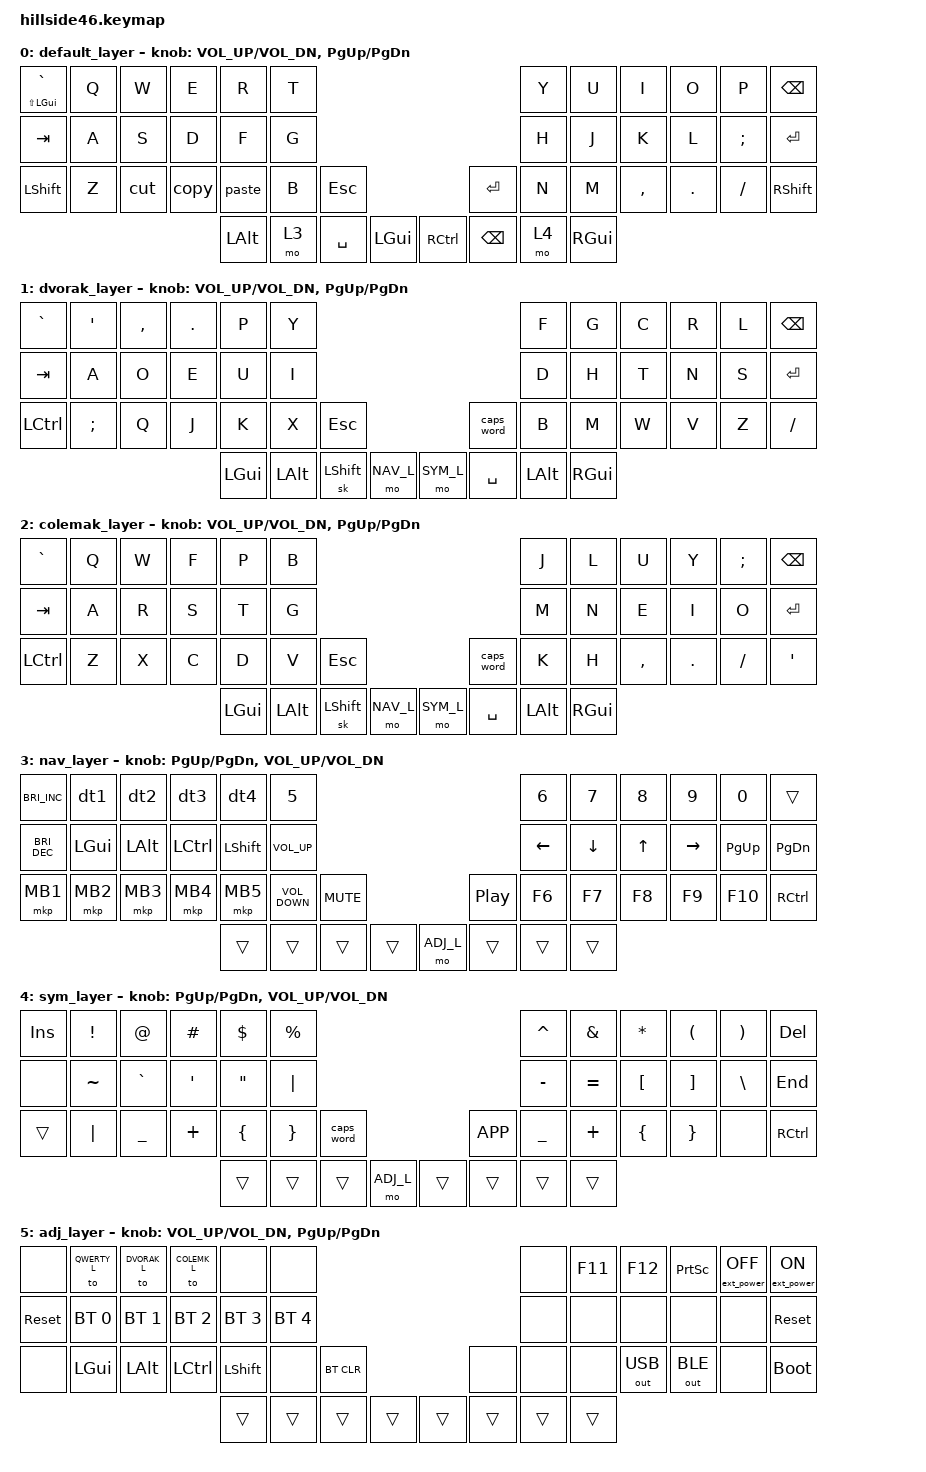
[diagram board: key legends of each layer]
/*
 * Copyright (c) 2021-2022 The ZMK Contributors
 *
 * SPDX-License-Identifier: MIT
 */

#include <dt-bindings/zmk/mouse.h>
#include <behaviors.dtsi>
#include <dt-bindings/zmk/bt.h>
#include <dt-bindings/zmk/ext_power.h>
#include <dt-bindings/zmk/keys.h>
#include <dt-bindings/zmk/outputs.h>

#define QWERTY_L 0
#define DVORAK_L 1
#define COLEMK_L 2
#define NAV_L    3
#define SYM_L    4
#define ADJ_L    5
#define Undo   LC(Z)
#define Cut    LC(X)
#define Copy   LC(C)
#define Paste  LC(V)
#define Redo   LC(Y)

/ {
    behaviors {
        ht: hold_tap {
            compatible = "zmk,behavior-hold-tap";
            #binding-cells = <2>;
            flavor = "tap-preferred";
            tapping-term-ms = <250>;
            quick-tap-ms = <150>;
            require-prior-idle-ms = <100>;
            bindings = <&kp>, <&kp>;
        };

        bhm: balanced_homerow_mods {
            compatible = "zmk,behavior-hold-tap";
            #binding-cells = <2>;
            tapping-term-ms = <250>;
            quick-tap-ms = <0>;
            flavor = "balanced";
            bindings = <&kp>, <&kp>;
        };

        cut: tap_dance_0 {
            compatible = "zmk,behavior-tap-dance";
            #binding-cells = <0>;
            tapping-term-ms = <250>;
            bindings = <&kp X>, <&kp LG(X)>;
        };

        copy: tap_dance_1 {
            compatible = "zmk,behavior-tap-dance";
            #binding-cells = <0>;
            tapping-term-ms = <250>;
            bindings = <&kp C>, <&kp LG(C)>;
        };

        paste: tap_dance_2 {
            compatible = "zmk,behavior-tap-dance";
            #binding-cells = <0>;
            tapping-term-ms = <250>;
            bindings = <&kp V>, <&kp LG(V)>;
        };

        dt1: tap_dance_3 {
            compatible = "zmk,behavior-tap-dance";
            #binding-cells = <0>;
            tapping-term-ms = <250>;
            bindings = <&kp N1>, <&kp LC(N1)>;
        };

        dt2: tap_dance_4 {
            compatible = "zmk,behavior-tap-dance";
            #binding-cells = <0>;
            tapping-term-ms = <250>;
            bindings = <&kp N2>, <&kp LC(N2)>;
        };

        dt3: tap_dance_5 {
            compatible = "zmk,behavior-tap-dance";
            #binding-cells = <0>;
            tapping-term-ms = <250>;
            bindings = <&kp N3>, <&kp LC(N3)>;
        };

        dt4: tap_dance_6 {
            compatible = "zmk,behavior-tap-dance";
            #binding-cells = <0>;
            tapping-term-ms = <250>;
            bindings = <&kp N4>, <&kp LC(N4)>;
        };
    };

    keymap {
        compatible = "zmk,keymap";

        default_layer {
            /* QWERTY
 * -------------------------------------------------------------------------------------------------------------------------------------
 * | `     |   Q   |   W   |   E   |   R   |   T   |-----------------------------------|   Y   |   U   |   I   |   O   |   P   | BKSPC |
 * | TAB   |   A   |   S   |   D   |   F   |   G   |-----------------------------------|   H   |   J   |   K   |   L   |   ;   | ENTER |
 * | CTRL  |   Z   |   X   |   C   |   V   |   B   |  ESC  |-------------------|  CAPS |   N   |   M   |   ,   |   .   |   /   |   '   |
 *                                 |  GUI  |  ALT  |SK SHFT|  Nav  |---|  Sym  | SPACE |  ALT  |  GUI  |
 */

            bindings = <
&mt LS(LGUI) GRAVE  &kp Q  &kp W  &kp E  &kp R         &kp T                                                   &kp Y  &kp U     &kp I      &kp O    &kp P      &kp BSPC
&kp TAB             &kp A  &kp S  &kp D  &kp F         &kp G                                                   &kp H  &kp J     &kp K      &kp L    &kp SEMI   &kp ENTER
&kp LSHIFT          &kp Z  &cut   &copy  &paste        &kp B  &kp ESC                           &kp ENTER      &kp N  &kp M     &kp COMMA  &kp DOT  &kp SLASH  &kp RSHIFT
                                         &kp LEFT_ALT  &mo 3  &kp SPACE  &kp LGUI    &kp RCTRL  &kp BACKSPACE  &mo 4  &kp RGUI
            >;

            sensor-bindings = <&inc_dec_kp C_VOL_UP C_VOL_DN &inc_dec_kp PG_UP PG_DN>;
        };

        dvorak_layer {
            /* DVORAK
 * -------------------------------------------------------------------------------------------------------------------------------------
 * | `     |   '   |   ,   |   .   |   P   |   Y   |-----------------------------------|   F   |   G   |   C   |   R   |   L   | BKSPC |
 * | TAB   |   A   |   O   |   E   |   U   |   I   |-----------------------------------|   D   |   H   |   T   |   N   |   S   | ENTER |
 * | CTRL  |   ;   |   Q   |   J   |   K   |   X   |  ESC  |-------------------| CAPS  |   B   |   M   |   W   |   V   |   Z   |   /   |
 *                                 |  GUI  |  ALT  |SK SHFT|  Nav  |---|  Sym  | SPACE |  ALT  |  GUI  |
 */

            bindings = <
&kp GRAVE  &kp SQT   &kp COMMA  &kp DOT  &kp P     &kp Y                                                     &kp F     &kp G     &kp C  &kp R  &kp L  &kp BSPC
&kp TAB    &kp A     &kp O      &kp E    &kp U     &kp I                                                     &kp D     &kp H     &kp T  &kp N  &kp S  &kp ENTER
&kp LCTRL  &kp SEMI  &kp Q      &kp J    &kp K     &kp X     &kp ESC                             &caps_word  &kp B     &kp M     &kp W  &kp V  &kp Z  &kp SLASH
                                         &kp LGUI  &kp LALT  &sk LSHIFT  &mo NAV_L    &mo SYM_L  &kp SPACE   &kp LALT  &kp RGUI
            >;

            sensor-bindings = <&inc_dec_kp C_VOL_UP C_VOL_DN &inc_dec_kp PG_UP PG_DN>;
        };

        colemak_layer {
            /* COLEMAK-DH
 * -------------------------------------------------------------------------------------------------------------------------------------
 * | `     |   Q   |   W   |   F   |   P   |   B   |-----------------------------------|   J   |   L   |   U   |   Y   |   ;   | BKSPC |
 * | TAB   |   A   |   R   |   S   |   T   |   G   |-----------------------------------|   M   |   N   |   E   |   I   |   O   | ENTER |
 * | CTRL  |   Z   |   X   |   C   |   D   |   V   |  ESC  |-------------------| CAPS  |   K   |   H   |   ,   |   .   |   /   |   '   |
 *                                 |  GUI  |  ALT  |SK SHFT|  Nav  |---|  Sym  | SPACE |  ALT  |  GUI  |
 */

            bindings = <
&kp GRAVE  &kp Q  &kp W  &kp F  &kp P     &kp B                                                     &kp J     &kp L     &kp U      &kp Y    &kp SEMI   &kp BSPC
&kp TAB    &kp A  &kp R  &kp S  &kp T     &kp G                                                     &kp M     &kp N     &kp E      &kp I    &kp O      &kp ENTER
&kp LCTRL  &kp Z  &kp X  &kp C  &kp D     &kp V     &kp ESC                             &caps_word  &kp K     &kp H     &kp COMMA  &kp DOT  &kp SLASH  &kp SQT
                                &kp LGUI  &kp LALT  &sk LSHIFT  &mo NAV_L    &mo SYM_L  &kp SPACE   &kp LALT  &kp RGUI
            >;

            sensor-bindings = <&inc_dec_kp C_VOL_UP C_VOL_DN &inc_dec_kp PG_UP PG_DN>;
        };

        nav_layer {
            /* NAV   
 * -------------------------------------------------------------------------------------------------------------------------------------
 * | Copy  |   1   |   2   |   3   |   4   |   5   |-----------------------------------|   6   |   7   |   8   |   9   |   0   | BSPC  |
 * | Cut   |  GUI  |  Alt  | Ctrl  | Shift | Paste |-----------------------------------| PG UP |  Left |  Up   |  Down | Right | PG DN |
 * | Ctrl  |  F1   |  F2   |  F3   |  F4   |  F5   |  UnDo |-------------------| ReDo  |  F6   |  F7   |  F8   |  F9   |  F10  | Ctrl  |
 *                                 |       |       |       |       |---| ADJ_L |       |       |       |
 */

            bindings = <
&kp C_BRIGHTNESS_INC  &dt1      &dt2      &dt3       &dt4       &kp N5                                                                &kp N6    &kp N7    &kp N8        &kp N9     &kp N0     &trans
&kp C_BRIGHTNESS_DEC  &kp LGUI  &kp LALT  &kp LCTRL  &kp LSHFT  &kp C_VOLUME_UP                                                       &kp LEFT  &kp DOWN  &kp UP_ARROW  &kp RIGHT  &kp PG_UP  &kp PAGE_DOWN
&mkp MB1              &mkp MB2  &mkp MB3  &mkp MB4   &mkp MB5   &kp C_VOLUME_DOWN  &kp C_MUTE                       &kp C_PLAY_PAUSE  &kp F6    &kp F7    &kp F8        &kp F9     &kp F10    &kp RCTRL
                                                     &trans     &trans             &trans      &trans    &mo ADJ_L  &trans            &trans    &trans
            >;

            sensor-bindings = <&inc_dec_kp PG_UP PG_DN &inc_dec_kp C_VOL_UP C_VOL_DN>;
        };

        sym_layer {
            /* SYM 
 * -------------------------------------------------------------------------------------------------------------------------------------
 * | INS   |   !   |   @   |   #   |   $   |   %   |-----------------------------------|   ^   |   &   |   *   |   (   |   )   | BSPC  |
 * |       |   \   |   -   |   =   |   [   |   ]   |-----------------------------------| HOME  | Shift | Ctrl  | Alt   | Gui   | END   |
 * | Ctrl  |   |   |   _   |   +   |   {   |   }   |SkAltGr|-------------------| MENU  | Mute  | Vol-  | Vol+  | Play  |       | Ctrl  |
 *                                 |       |       |       |  ADJ_L |---|      |       |       |       |
 */

            bindings = <
&kp INS  &kp EXCL   &kp AT     &kp HASH          &kp DOLLAR         &kp PERCENT                                              &kp CARET  &kp AMPS   &kp ASTRK         &kp LPAR           &kp RPAR       &kp DEL
&none    &kp TILDE  &kp GRAVE  &kp SINGLE_QUOTE  &kp DOUBLE_QUOTES  &kp PIPE                                                 &kp MINUS  &kp EQUAL  &kp LEFT_BRACKET  &kp RIGHT_BRACKET  &kp BACKSLASH  &kp END
&trans   &kp PIPE   &kp UNDER  &kp PLUS          &kp LBRC           &kp RBRC     &caps_word                       &kp K_APP  &kp UNDER  &kp PLUS   &kp LEFT_BRACE    &kp RIGHT_BRACE    &none          &kp RCTRL
                                                 &trans             &trans       &trans      &mo ADJ_L    &trans  &trans     &trans     &trans
            >;

            sensor-bindings = <&inc_dec_kp PG_UP PG_DN &inc_dec_kp C_VOL_UP C_VOL_DN>;
        };

        adj_layer {
            /* ADJUST
 * -------------------------------------------------------------------------------------------------------------------------------------
 * |       | QWERTY| DVORAK| COLEMK|       |       |-----------------------------------|       |  F11  |  F12  |Prt Scr|EP_OFF | EP_ON |
 * | RESET | BT 0  | BT 1  | BT 2  | BT 3  | BT 4  |-----------------------------------|       |       |       |       |       | RESET |
 * |       | LGUI  | LALT  | LCTRL | LSHIFT|       |BT CLR |-------------------|       |       |       |OUT_USB|OUT_BLE|       | BOOTL |
 *                                 |       |       |       |       |---|       |       |       |       |
 */

            bindings = <
&none       &to QWERTY_L  &to DVORAK_L  &to COLEMK_L  &none         &none                                               &none   &kp F11  &kp F12       &kp PRINTSCREEN  &ext_power EP_OFF  &ext_power EP_ON
&sys_reset  &bt BT_SEL 0  &bt BT_SEL 1  &bt BT_SEL 2  &bt BT_SEL 3  &bt BT_SEL 4                                        &none   &none    &none         &none            &none              &sys_reset
&none       &kp LGUI      &kp LALT      &kp LCTRL     &kp LSHIFT    &none         &bt BT_CLR                    &none   &none   &none    &out OUT_USB  &out OUT_BLE     &none              &bootloader
                                                      &trans        &trans        &trans      &trans    &trans  &trans  &trans  &trans
            >;

            sensor-bindings = <&inc_dec_kp C_VOL_UP C_VOL_DN &inc_dec_kp PG_UP PG_DN>;
        };
    };
};
